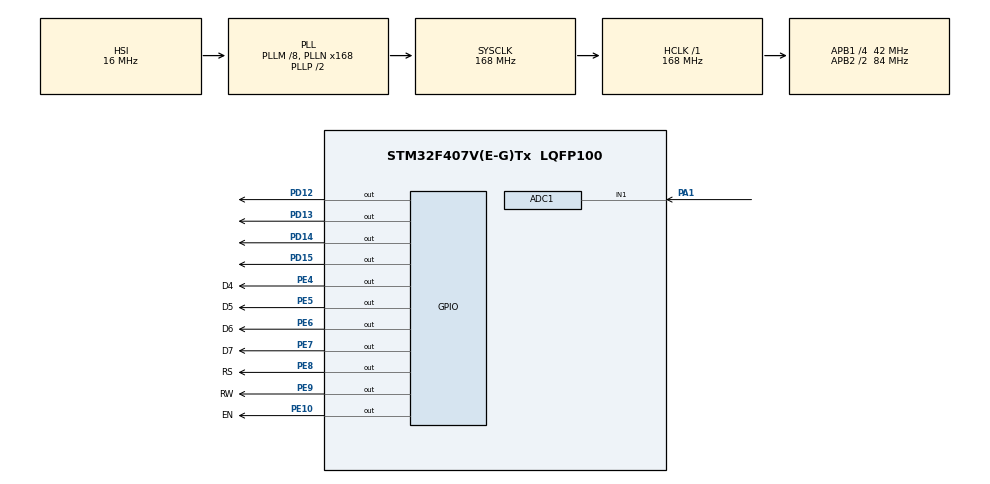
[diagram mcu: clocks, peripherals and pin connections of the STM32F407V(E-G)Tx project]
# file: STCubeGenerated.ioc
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ADC1.Channel-1\#ChannelRegularConversion=ADC_CHANNEL_1
ADC1.ContinuousConvMode=ENABLE
ADC1.NbrOfConversionFlag=1
ADC1.Rank-1\#ChannelRegularConversion=1
ADC1.SamplingTime-1\#ChannelRegularConversion=ADC_SAMPLETIME_3CYCLES
ADC1.ScanConvMode=ENABLE
ADC1.master=1
Mcu.Family=STM32F4
Mcu.Name=STM32F407V(E-G)Tx
Mcu.Package=LQFP100
NVIC.PriorityGroup=NVIC_PRIORITYGROUP_4
PA1.Signal=ADCx_IN1
PD12.Signal=GPIO_Output
PD13.Signal=GPIO_Output
PD14.Signal=GPIO_Output
PD15.Signal=GPIO_Output
PE10.GPIO_Label=EN
PE10.GPIO_ModeDefaultOutputPP=GPIO_MODE_OUTPUT_PP
PE10.GPIO_PuPd=GPIO_NOPULL
PE10.Signal=GPIO_Output
PE4.GPIO_Label=D4
PE4.GPIO_ModeDefaultOutputPP=GPIO_MODE_OUTPUT_PP
PE4.GPIO_PuPd=GPIO_NOPULL
PE4.Signal=GPIO_Output
PE5.GPIO_Label=D5
PE5.GPIO_ModeDefaultOutputPP=GPIO_MODE_OUTPUT_PP
PE5.GPIO_PuPd=GPIO_NOPULL
PE5.Signal=GPIO_Output
PE6.GPIO_Label=D6
PE6.GPIO_ModeDefaultOutputPP=GPIO_MODE_OUTPUT_PP
PE6.GPIO_PuPd=GPIO_NOPULL
PE6.Signal=GPIO_Output
PE7.GPIO_Label=D7
PE7.GPIO_ModeDefaultOutputPP=GPIO_MODE_OUTPUT_PP
PE7.GPIO_PuPd=GPIO_NOPULL
PE7.Signal=GPIO_Output
PE8.GPIO_Label=RS
PE8.GPIO_ModeDefaultOutputPP=GPIO_MODE_OUTPUT_PP
PE8.GPIO_PuPd=GPIO_NOPULL
PE8.Signal=GPIO_Output
PE9.GPIO_Label=RW
PE9.GPIO_ModeDefaultOutputPP=GPIO_MODE_OUTPUT_PP
PE9.GPIO_PuPd=GPIO_NOPULL
PE9.Signal=GPIO_Output
PH0-OSC_IN.Mode=HSE-External-Oscillator
PH0-OSC_IN.Signal=RCC_OSC_IN
PH1-OSC_OUT.Mode=HSE-External-Oscillator
PH1-OSC_OUT.Signal=RCC_OSC_OUT
ProjectManager.HeapSize=0x200
ProjectManager.StackSize=0x400
ProjectManager.TargetToolchain=MDK-ARM V5
RCC.48MHZClocksFreq_Value=84000000
RCC.AHBFreq_Value=168000000
RCC.APB1CLKDivider=RCC_HCLK_DIV4
RCC.APB1Freq_Value=42000000
RCC.APB1TimFreq_Value=84000000
RCC.APB2CLKDivider=RCC_HCLK_DIV2
RCC.APB2Freq_Value=84000000
RCC.APB2TimFreq_Value=168000000
RCC.CortexFreq_Value=168000000
RCC.HCLKFreq_Value=168000000
RCC.HSE_VALUE=8000000
RCC.HSI_VALUE=16000000
RCC.LSE_VALUE=32768
RCC.PLLM=8
RCC.PLLN=168
RCC.SYSCLKFreq_VALUE=168000000
RCC.SYSCLKSource=RCC_SYSCLKSOURCE_PLLCLK
RCC.VCOOutputFreq_Value=336000000
SH.ADCx_IN1.0=ADC1_IN1,IN1
board=custom

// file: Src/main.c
/* USER CODE BEGIN Header */
/**
  ******************************************************************************
  * @file           : main.c
  * @brief          : Main program body
  ******************************************************************************
  * @attention
  *
  * Copyright (c) 2023 STMicroelectronics.
  * All rights reserved.
  *
  * This software is licensed under terms that can be found in the LICENSE file
  * in the root directory of this software component.
  * If no LICENSE file comes with this software, it is provided AS-IS.
  *
  ******************************************************************************
  */
/* USER CODE END Header */
#include "main.h"

/* USER CODE BEGIN Includes */
#include "lcd.h"
#include "stdio.h"

/* USER CODE END Includes */

ADC_HandleTypeDef hadc1;

void SystemClock_Config(void);
static void MX_GPIO_Init(void);
static void MX_ADC1_Init(void);

int main(void)
{

  /* MCU Configuration--------------------------------------------------------*/

  /* Reset of all peripherals, Initializes the Flash interface and the Systick. */
  HAL_Init();

  /* Configure the system clock */
  SystemClock_Config();

  /* Initialize all configured peripherals */
  MX_GPIO_Init();
  MX_ADC1_Init();
  /* USER CODE BEGIN 2 */

	// lcd_init
	HAL_GPIO_WritePin(RW_GPIO_Port, RW_Pin, 0);
	Lcd_PortType ports[] = { D4_GPIO_Port, D5_GPIO_Port, D6_GPIO_Port, D7_GPIO_Port };
	Lcd_PinType pins[] = {D4_Pin, D5_Pin, D6_Pin, D7_Pin};
	Lcd_HandleTypeDef lcd;
	lcd = Lcd_create(ports, pins, RS_GPIO_Port, RS_Pin, EN_GPIO_Port, EN_Pin, LCD_4_BIT_MODE);

	// write something and wait 3sec
	Lcd_string(&lcd, "BANU Embedded Sys.");
	Lcd_cursor(&lcd, 1,6);
	Lcd_int(&lcd, 2023);
	HAL_Delay(1000);

  /* USER CODE END 2 */

  /* Infinite loop */
  /* USER CODE BEGIN WHILE */

	char str[16];
	int a=60;
	int adcValue;
	float temp;

  while (1)
  {

		// read LM35
		HAL_ADC_Start(&hadc1);
		HAL_ADC_PollForConversion(&hadc1, 100);
		adcValue=HAL_ADC_GetValue(&hadc1);
		HAL_ADC_Stop(&hadc1);

		temp=(3000*adcValue/4096)/1000.0;

		Lcd_cursor(&lcd, 1,0);
		snprintf(str, 16, "Voltage= %2.2fV", temp);
		Lcd_string(&lcd, str);
		HAL_Delay(100);

    /* USER CODE END WHILE */

  }
}

void SystemClock_Config(void)
{
  RCC_OscInitTypeDef RCC_OscInitStruct = {0};
  RCC_ClkInitTypeDef RCC_ClkInitStruct = {0};

  /** Configure the main internal regulator output voltage
  */
  __HAL_RCC_PWR_CLK_ENABLE();
  __HAL_PWR_VOLTAGESCALING_CONFIG(PWR_REGULATOR_VOLTAGE_SCALE1);

  /** Initializes the RCC Oscillators according to the specified parameters
  * in the RCC_OscInitTypeDef structure.
  */
  RCC_OscInitStruct.OscillatorType = RCC_OSCILLATORTYPE_HSI;
  RCC_OscInitStruct.HSIState = RCC_HSI_ON;
  RCC_OscInitStruct.HSICalibrationValue = RCC_HSICALIBRATION_DEFAULT;
  RCC_OscInitStruct.PLL.PLLState = RCC_PLL_ON;
  RCC_OscInitStruct.PLL.PLLSource = RCC_PLLSOURCE_HSI;
  RCC_OscInitStruct.PLL.PLLM = 8;
  RCC_OscInitStruct.PLL.PLLN = 168;
  RCC_OscInitStruct.PLL.PLLP = RCC_PLLP_DIV2;
  RCC_OscInitStruct.PLL.PLLQ = 4;
  if (HAL_RCC_OscConfig(&RCC_OscInitStruct) != HAL_OK)
  {
    Error_Handler();
  }

  /** Initializes the CPU, AHB and APB buses clocks
  */
  RCC_ClkInitStruct.ClockType = RCC_CLOCKTYPE_HCLK|RCC_CLOCKTYPE_SYSCLK
                              |RCC_CLOCKTYPE_PCLK1|RCC_CLOCKTYPE_PCLK2;
  RCC_ClkInitStruct.SYSCLKSource = RCC_SYSCLKSOURCE_PLLCLK;
  RCC_ClkInitStruct.AHBCLKDivider = RCC_SYSCLK_DIV1;
  RCC_ClkInitStruct.APB1CLKDivider = RCC_HCLK_DIV4;
  RCC_ClkInitStruct.APB2CLKDivider = RCC_HCLK_DIV2;

  if (HAL_RCC_ClockConfig(&RCC_ClkInitStruct, FLASH_LATENCY_5) != HAL_OK)
  {
    Error_Handler();
  }
}

static void MX_ADC1_Init(void)
{

  ADC_ChannelConfTypeDef sConfig = {0};

  /** Configure the global features of the ADC (Clock, Resolution, Data Alignment and number of conversion)
  */
  hadc1.Instance = ADC1;
  hadc1.Init.ClockPrescaler = ADC_CLOCK_SYNC_PCLK_DIV4;
  hadc1.Init.Resolution = ADC_RESOLUTION_12B;
  hadc1.Init.ScanConvMode = ENABLE;
  hadc1.Init.ContinuousConvMode = ENABLE;
  hadc1.Init.DiscontinuousConvMode = DISABLE;
  hadc1.Init.ExternalTrigConvEdge = ADC_EXTERNALTRIGCONVEDGE_NONE;
  hadc1.Init.ExternalTrigConv = ADC_SOFTWARE_START;
  hadc1.Init.DataAlign = ADC_DATAALIGN_RIGHT;
  hadc1.Init.NbrOfConversion = 1;
  hadc1.Init.DMAContinuousRequests = DISABLE;
  hadc1.Init.EOCSelection = ADC_EOC_SINGLE_CONV;
  if (HAL_ADC_Init(&hadc1) != HAL_OK)
  {
    Error_Handler();
  }

  /** Configure for the selected ADC regular channel its corresponding rank in the sequencer and its sample time.
  */
  sConfig.Channel = ADC_CHANNEL_1;
  sConfig.Rank = 1;
  sConfig.SamplingTime = ADC_SAMPLETIME_3CYCLES;
  if (HAL_ADC_ConfigChannel(&hadc1, &sConfig) != HAL_OK)
  {
    Error_Handler();
  }

}

static void MX_GPIO_Init(void)
{
  GPIO_InitTypeDef GPIO_InitStruct = {0};

  /* GPIO Ports Clock Enable */
  __HAL_RCC_GPIOE_CLK_ENABLE();
  __HAL_RCC_GPIOH_CLK_ENABLE();
  __HAL_RCC_GPIOA_CLK_ENABLE();
  __HAL_RCC_GPIOD_CLK_ENABLE();

  /*Configure GPIO pin Output Level */
  HAL_GPIO_WritePin(GPIOE, D4_Pin|D5_Pin|D6_Pin|D7_Pin
                          |RS_Pin|RW_Pin|EN_Pin, GPIO_PIN_RESET);

  /*Configure GPIO pin Output Level */
  HAL_GPIO_WritePin(GPIOD, GPIO_PIN_12|GPIO_PIN_13|GPIO_PIN_14|GPIO_PIN_15, GPIO_PIN_RESET);

  /*Configure GPIO pins : D4_Pin D5_Pin D6_Pin D7_Pin
                           RS_Pin RW_Pin EN_Pin */
  GPIO_InitStruct.Pin = D4_Pin|D5_Pin|D6_Pin|D7_Pin
                          |RS_Pin|RW_Pin|EN_Pin;
  GPIO_InitStruct.Mode = GPIO_MODE_OUTPUT_PP;
  GPIO_InitStruct.Pull = GPIO_NOPULL;
  GPIO_InitStruct.Speed = GPIO_SPEED_FREQ_LOW;
  HAL_GPIO_Init(GPIOE, &GPIO_InitStruct);

  /*Configure GPIO pins : PD12 PD13 PD14 PD15 */
  GPIO_InitStruct.Pin = GPIO_PIN_12|GPIO_PIN_13|GPIO_PIN_14|GPIO_PIN_15;
  GPIO_InitStruct.Mode = GPIO_MODE_OUTPUT_PP;
  GPIO_InitStruct.Pull = GPIO_NOPULL;
  GPIO_InitStruct.Speed = GPIO_SPEED_FREQ_LOW;
  HAL_GPIO_Init(GPIOD, &GPIO_InitStruct);

}

void Error_Handler(void)
{
  __disable_irq();
  while (1)
  {
  }
}
